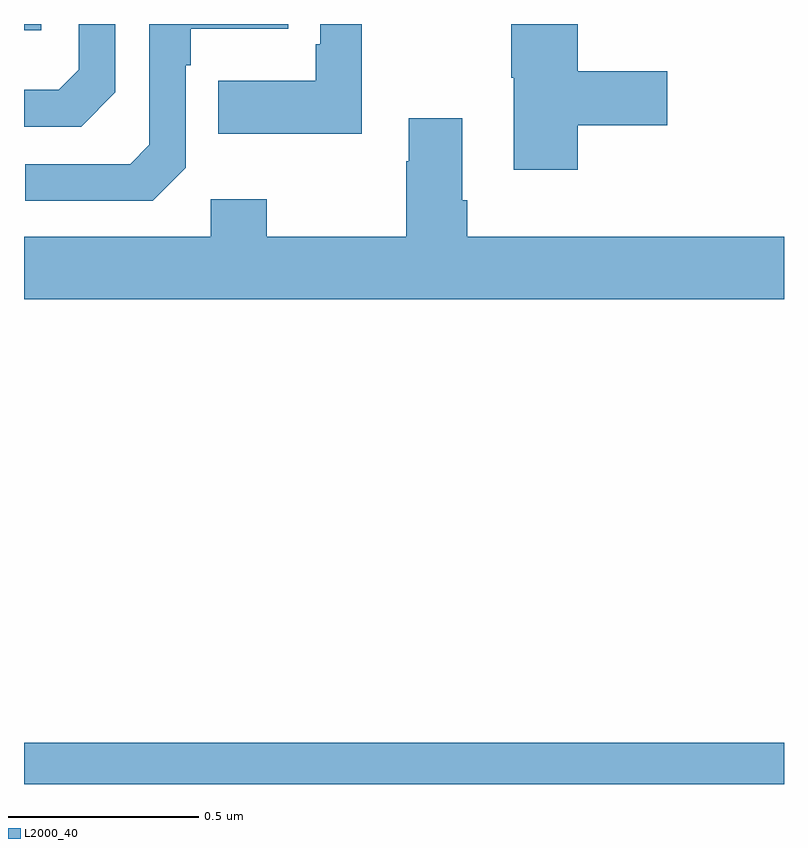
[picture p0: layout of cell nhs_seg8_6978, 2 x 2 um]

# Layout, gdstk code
import gdstk
lib = gdstk.Library(unit=1e-6, precision=1e-09)
def R(c, l, rs):  # rectangles x0, y0, x1, y1
    for r in rs: c.add(gdstk.rectangle(r[:2], r[2:], *l))
def P(c, l, *ps):  # polygons
    for p in ps: c.add(gdstk.Polygon(p, *l))
L2000_40 = (2000, 40)

nhs_seg8_6978 = lib.new_cell('nhs_seg8_6978')
R(nhs_seg8_6978, L2000_40, [(204,1105.9,206,1106.008), (204,1107.884,204.046,1107.9)])
P(nhs_seg8_6978, L2000_40, [(204.426,1107.522),(204.426,1107.791),(204.439,1107.791),(204.439,1107.887),(204.695,1107.887),(204.695,1107.9),(204.33,1107.9),(204.33,1107.582),(204.279,1107.531),(204.003,1107.531),(204.003,1107.435),(204.339,1107.435)],
  [(204.24,1107.72),(204.24,1107.9),(204.144,1107.9),(204.144,1107.78),(204.091,1107.727),(204,1107.727),(204,1107.63),(204.15,1107.63)],
  [(204.889,1107.9),(204.78,1107.9),(204.78,1107.847),(204.768,1107.847),(204.768,1107.751),(204.511,1107.751),(204.511,1107.611),(204.889,1107.611)],
  [(205.457,1107.634),(205.693,1107.634),(205.693,1107.776),(205.457,1107.776),(205.457,1107.9),(205.282,1107.9),(205.282,1107.759),(205.289,1107.759),(205.289,1107.516),(205.457,1107.516)],
  [(206,1107.34),(205.166,1107.34),(205.166,1107.436),(205.153,1107.436),(205.153,1107.652),(205.013,1107.652),(205.013,1107.539),(205.006,1107.539),(205.006,1107.34),(204.639,1107.34),(204.639,1107.439),(204.492,1107.439),(204.492,1107.34),(204,1107.34),(204,1107.176),(206,1107.176)])

lib.write_gds('nhs_seg8_6978.gds')
